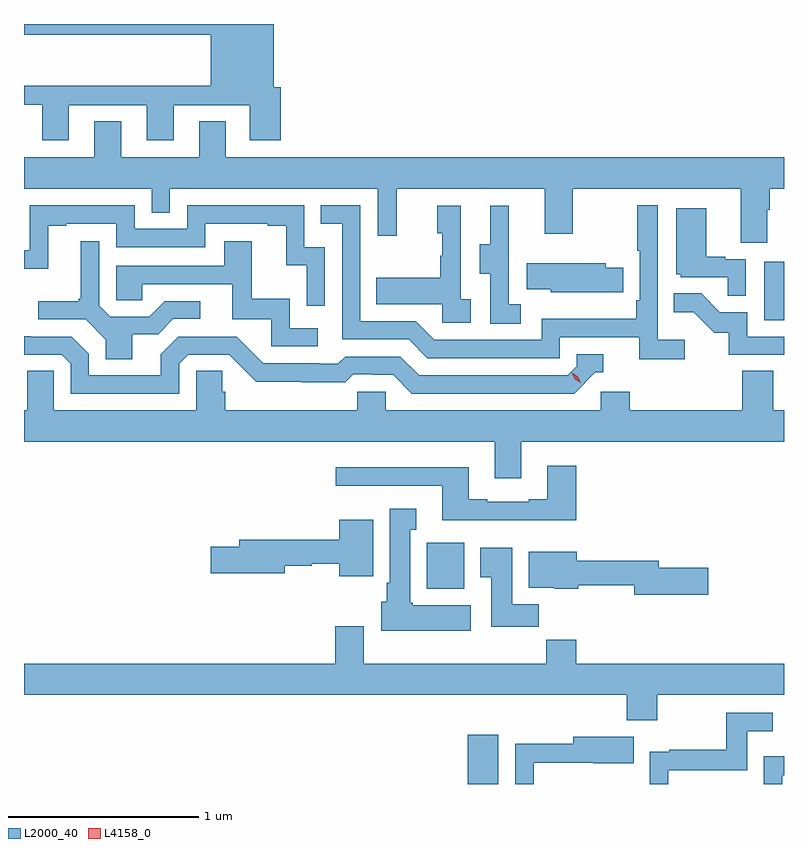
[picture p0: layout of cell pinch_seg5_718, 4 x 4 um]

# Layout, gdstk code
import gdstk
lib = gdstk.Library(unit=1e-6, precision=1e-09)
def R(c, l, rs):  # rectangles x0, y0, x1, y1
    for r in rs: c.add(gdstk.rectangle(r[:2], r[2:], *l))
def P(c, l, *ps):  # polygons
    for p in ps: c.add(gdstk.Polygon(p, *l))
L2000_40 = (2000, 40)
L4158_0 = (4158, 0)

pinch_seg5_718 = lib.new_cell('pinch_seg5_718')
R(pinch_seg5_718, L2000_40, [(1117.958,850.962,1118.119,851.221), (1117.742,851.99,1117.939,852.232), (1119.518,853.404,1119.622,853.711)])
P(pinch_seg5_718, L2000_40, [(1115.857,854.535),(1116.269,854.535),(1116.269,854.349),(1116.409,854.349),(1116.409,854.535),(1116.809,854.535),(1116.809,854.349),(1116.974,854.349),(1116.974,854.628),(1116.937,854.628),(1116.937,854.962),(1115.622,854.962),(1115.622,854.906),(1116.605,854.906),(1116.605,854.636),(1115.622,854.636),(1115.622,854.538),(1115.717,854.538),(1115.717,854.349),(1115.857,854.349)],
  [(1119.535,853.984),(1119.548,853.984),(1119.548,854.096),(1119.622,854.096),(1119.622,854.26),(1116.685,854.26),(1116.685,854.45),(1116.545,854.45),(1116.545,854.26),(1116.133,854.26),(1116.133,854.45),(1115.993,854.45),(1115.993,854.26),(1115.622,854.26),(1115.622,854.096),(1116.294,854.096),(1116.294,853.969),(1116.39,853.969),(1116.39,854.096),(1117.485,854.096),(1117.485,853.848),(1117.583,853.848),(1117.583,854.096),(1118.363,854.096),(1118.363,853.857),(1118.511,853.857),(1118.511,854.096),(1119.395,854.096),(1119.395,853.81),(1119.535,853.81)],
  [(1119.1,853.3),(1118.958,853.3),(1118.958,854.008),(1118.85,854.008),(1118.85,853.768),(1118.862,853.768),(1118.862,853.507),(1118.845,853.507),(1118.845,853.411),(1118.346,853.411),(1118.346,853.299),(1117.782,853.299),(1117.683,853.398),(1117.392,853.398),(1117.392,854.007),(1117.183,854.007),(1117.183,853.911),(1117.296,853.911),(1117.296,853.302),(1117.646,853.302),(1117.745,853.203),(1118.442,853.203),(1118.442,853.314),(1118.861,853.314),(1118.861,853.198),(1119.1,853.198)],
  [(1117.206,853.788),(1117.098,853.788),(1117.098,854.007),(1116.48,854.007),(1116.48,853.884),(1116.204,853.884),(1116.204,854.007),(1115.652,854.007),(1115.652,853.771),(1115.622,853.771),(1115.622,853.673),(1115.749,853.673),(1115.749,853.899),(1115.845,853.899),(1115.845,853.911),(1116.108,853.911),(1116.108,853.788),(1116.576,853.788),(1116.576,853.911),(1116.905,853.911),(1116.905,853.899),(1117.001,853.899),(1117.001,853.691),(1117.11,853.691),(1117.11,853.479),(1117.206,853.479)],
  [(1118.236,853.487),(1118.172,853.487),(1118.172,853.791),(1118.174,853.791),(1118.174,854.005),(1118.075,854.005),(1118.075,853.803),(1118.021,853.803),(1118.021,853.648),(1118.076,853.648),(1118.076,853.384),(1118.236,853.384)],
  [(1117.972,853.514),(1117.92,853.514),(1117.92,854.005),(1117.796,854.005),(1117.796,853.86),(1117.822,853.86),(1117.822,853.742),(1117.812,853.742),(1117.812,853.627),(1117.477,853.627),(1117.477,853.487),(1117.824,853.487),(1117.824,853.389),(1117.972,853.389)],
  [(1119.42,853.725),(1119.314,853.725),(1119.314,853.738),(1119.214,853.738),(1119.214,853.993),(1119.056,853.993),(1119.056,853.644),(1119.078,853.644),(1119.078,853.629),(1119.325,853.629),(1119.325,853.531),(1119.42,853.531)],
  [(1117.168,853.362),(1117.02,853.362),(1117.02,853.516),(1116.821,853.516),(1116.821,853.819),(1116.677,853.819),(1116.677,853.689),(1116.108,853.689),(1116.108,853.509),(1116.245,853.509),(1116.245,853.593),(1116.719,853.593),(1116.719,853.407),(1116.924,853.407),(1116.924,853.266),(1117.168,853.266)],
  [(1116.193,853.33),(1116.328,853.33),(1116.408,853.41),(1116.55,853.41),(1116.55,853.503),(1116.362,853.503),(1116.281,853.422),(1116.075,853.422),(1116.018,853.479),(1116.018,853.819),(1115.921,853.819),(1115.921,853.516),(1115.91,853.516),(1115.91,853.504),(1115.697,853.504),(1115.697,853.407),(1115.946,853.407),(1116.053,853.3),(1116.053,853.198),(1116.193,853.198)],
  [(1118.666,853.551),(1118.777,853.551),(1118.777,853.68),(1118.683,853.68),(1118.683,853.702),(1118.269,853.702),(1118.269,853.565),(1118.394,853.565),(1118.394,853.55),(1118.666,853.55)],
  [(1119.622,853.317),(1119.429,853.317),(1119.429,853.446),(1119.285,853.446),(1119.187,853.544),(1119.043,853.544),(1119.043,853.445),(1119.147,853.445),(1119.254,853.338),(1119.331,853.338),(1119.331,853.221),(1119.622,853.221)],
  [(1116.438,853.173),(1116.486,853.221),(1116.702,853.221),(1116.844,853.079),(1117.08,853.079),(1117.08,853.077),(1117.313,853.077),(1117.355,853.119),(1117.458,853.119),(1117.458,853.116),(1117.565,853.116),(1117.664,853.017),(1118.517,853.017),(1118.628,853.128),(1118.671,853.128),(1118.671,853.224),(1118.532,853.224),(1118.532,853.161),(1118.484,853.113),(1117.701,853.113),(1117.602,853.212),(1117.313,853.212),(1117.274,853.173),(1117.175,853.173),(1117.175,853.176),(1116.882,853.176),(1116.741,853.317),(1116.435,853.317),(1116.341,853.223),(1116.341,853.113),(1115.964,853.113),(1115.964,853.227),(1115.874,853.317),(1115.658,853.317),(1115.658,853.319),(1115.622,853.319),(1115.622,853.221),(1115.82,853.221),(1115.868,853.173),(1115.868,853.017),(1116.438,853.017)],
  [(1118.239,852.764),(1119.622,852.764),(1119.622,852.928),(1119.566,852.928),(1119.566,853.136),(1119.401,853.136),(1119.401,852.928),(1118.81,852.928),(1118.81,853.026),(1118.658,853.026),(1118.658,852.928),(1117.527,852.928),(1117.527,853.026),(1117.377,853.026),(1117.377,852.928),(1116.68,852.928),(1116.68,853.026),(1116.665,853.026),(1116.665,853.136),(1116.528,853.136),(1116.528,852.928),(1115.778,852.928),(1115.778,853.136),(1115.639,853.136),(1115.639,852.928),(1115.622,852.928),(1115.622,852.764),(1118.099,852.764),(1118.099,852.57),(1118.239,852.57)],
  [(1118.528,852.637),(1118.375,852.637),(1118.375,852.46),(1118.279,852.46),(1118.279,852.447),(1118.059,852.447),(1118.059,852.46),(1117.963,852.46),(1117.963,852.628),(1117.263,852.628),(1117.263,852.531),(1117.823,852.531),(1117.823,852.35),(1118.528,852.35)],
  [(1117.972,851.902),(1117.668,851.902),(1117.668,851.916),(1117.654,851.916),(1117.654,852.299),(1117.687,852.299),(1117.687,852.412),(1117.547,852.412),(1117.547,852.022),(1117.532,852.022),(1117.532,851.922),(1117.502,851.922),(1117.502,851.768),(1117.972,851.768)],
  [(1117.459,852.352),(1117.28,852.352),(1117.28,852.248),(1116.755,852.248),(1116.755,852.212),(1116.606,852.212),(1116.606,852.07),(1116.994,852.07),(1116.994,852.112),(1117.137,852.112),(1117.137,852.12),(1117.28,852.12),(1117.28,852.056),(1117.459,852.056)],
  [(1118.33,851.908),(1118.191,851.908),(1118.191,852.205),(1118.024,852.205),(1118.024,852.049),(1118.081,852.049),(1118.081,851.79),(1118.33,851.79)],
  [(1119.223,852.101),(1118.962,852.101),(1118.962,852.137),(1118.53,852.137),(1118.53,852.184),(1118.279,852.184),(1118.279,851.996),(1118.412,851.996),(1118.412,851.99),(1118.538,851.99),(1118.538,852.009),(1118.834,852.009),(1118.834,851.959),(1119.223,851.959)],
  [(1118.955,851.432),(1119.622,851.432),(1119.622,851.596),(1118.528,851.596),(1118.528,851.72),(1118.371,851.72),(1118.371,851.596),(1117.411,851.596),(1117.411,851.791),(1117.259,851.791),(1117.259,851.596),(1115.622,851.596),(1115.622,851.432),(1118.795,851.432),(1118.795,851.297),(1118.955,851.297)],
  [(1119.012,851.034),(1119.429,851.034),(1119.429,851.24),(1119.563,851.24),(1119.563,851.337),(1119.318,851.337),(1119.318,851.143),(1119.019,851.143),(1119.019,851.131),(1118.916,851.131),(1118.916,850.962),(1119.012,850.962)],
  [(1118.304,851.073),(1118.617,851.073),(1118.617,851.072),(1118.831,851.072),(1118.831,851.212),(1118.513,851.212),(1118.513,851.174),(1118.208,851.174),(1118.208,850.962),(1118.304,850.962)],
  [(1119.612,851.009),(1119.622,851.009),(1119.622,851.107),(1119.516,851.107),(1119.516,850.962),(1119.612,850.962)])
P(pinch_seg5_718, L4158_0, [(1118.553,853.073),(1118.522,853.093),(1118.506,853.126),(1118.506,853.126),(1118.507,853.126),(1118.537,853.106),(1118.553,853.074),(1118.553,853.073)])

lib.write_gds('pinch_seg5_718.gds')
